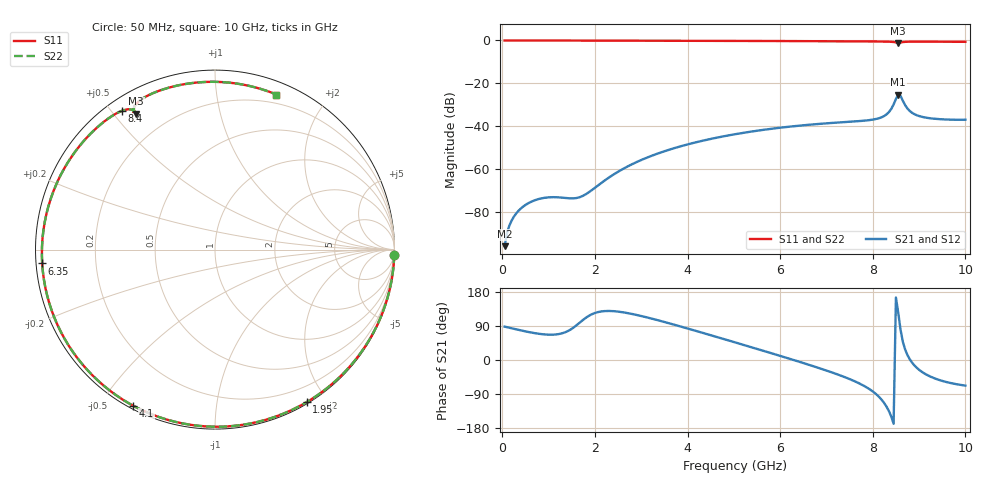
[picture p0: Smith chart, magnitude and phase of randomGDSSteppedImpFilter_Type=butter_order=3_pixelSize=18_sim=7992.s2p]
! freq	dB(S11)	phase(S11)	dB(S12)	phase(S12)
!  dB(S21)	phase(S21)	dB(S22)	phase(S22)
!S-par simulation data
#  GHz  S  DB  R 50
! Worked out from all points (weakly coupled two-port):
!   200 points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, 50 MHz to 10 GHz, reference 50 ohm
!   highest |S21| = -25.19 dB at 8.55 GHz (marker M1); lowest = -95.7 dB at 50 MHz (marker M2)
!   lowest |S11| = -1.1 dB at 8.55 GHz (marker M3), VSWR 15.14, Z = 4.39 + j28.6 ohm
!   |S11| at or under -10 dB: nowhere
!   |S22| runs from -1.1 to 0.0 dB; largest |S21 - S12| = 0
!   S11 on the Smith chart (normalised r, x): 50 MHz: 1, -72; 1.95 GHz: 0.02, -1.77; 4.1 GHz: 0.01, -0.61; 6.35 GHz: 0.02, -0.04; 8.4 GHz: 0.05, +0.53; 10 GHz: 0.12, +1.47
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0.05  -0.00 -1.6  -95.72 88.1  -95.72 88.1  -0.00 -1.6
0.3  -0.01 -9.3  -80.50 80.9  -80.50 80.9  -0.01 -9.3
0.55  -0.02 -17.1  -75.88 74.3  -75.88 74.3  -0.02 -17.1
0.85  -0.03 -26.3  -73.46 68.2  -73.46 68.2  -0.03 -26.3
1.75  -0.07 -53.2  -72.21 106.4  -72.21 106.4  -0.07 -53.2
1.95  -0.07 -59.0  -69.37 121.6  -69.37 121.6  -0.07 -59.0
2.6  -0.10 -77.5  -59.85 126.0  -59.85 126.0  -0.10 -77.5
3.4  -0.13 -99.2  -52.29 103.7  -52.29 103.7  -0.13 -99.3
4.1  -0.16 -117.6  -47.82 79.7  -47.82 79.7  -0.16 -117.6
5.05  -0.21 -141.9  -43.54 45.7  -43.54 45.7  -0.21 -141.9
6.35  -0.30 -175.4  -39.78 -2.2  -39.78 -2.2  -0.30 -175.4
6.7  -0.33 175.2  -39.08 -15.7  -39.08 -15.7  -0.33 175.2
7.35  -0.39 157.0  -38.04 -43.1  -38.04 -43.1  -0.39 157.0
8  -0.47 137.4  -36.84 -83.0  -36.84 -83.0  -0.47 137.4
8.35  -0.57 125.6  -33.29 -135.2  -33.29 -135.2  -0.57 125.6
8.4  -0.62 123.7  -31.82 -149.4  -31.82 -149.4  -0.62 123.7
8.55  -1.15 120.1  -25.19 124.7  -25.19 124.7  -1.15 120.1
8.6  -1.00 120.8  -25.82 79.7  -25.82 79.7  -1.00 120.8
8.75  -0.59 115.2  -31.70 12.7  -31.70 12.7  -0.59 115.2
8.95  -0.55 107.7  -34.80 -20.5  -34.80 -20.5  -0.55 107.7
9.5  -0.59 87.5  -36.70 -55.2  -36.70 -55.2  -0.59 87.5
10  -0.64 68.4  -36.89 -67.6  -36.89 -67.6  -0.64 68.4
